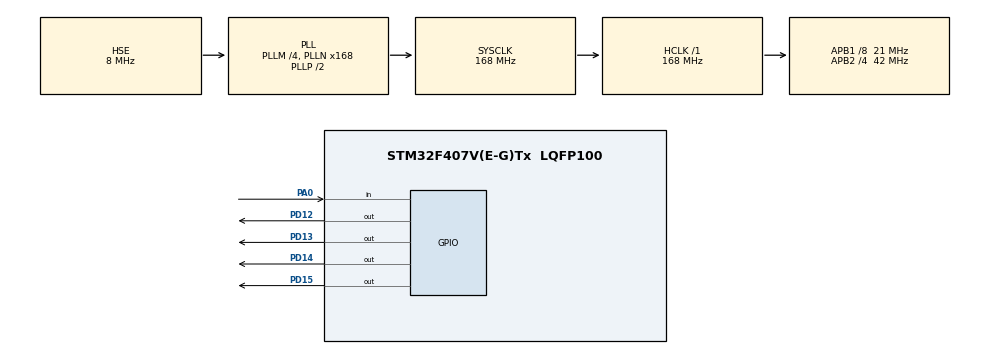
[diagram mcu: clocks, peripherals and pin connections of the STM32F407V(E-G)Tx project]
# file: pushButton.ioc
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Mcu.Family=STM32F4
Mcu.Name=STM32F407V(E-G)Tx
Mcu.Package=LQFP100
NVIC.PriorityGroup=NVIC_PRIORITYGROUP_0
PA0-WKUP.Signal=GPIO_Input
PD12.Signal=GPIO_Output
PD13.Signal=GPIO_Output
PD14.Signal=GPIO_Output
PD15.Signal=GPIO_Output
PH0-OSC_IN.Mode=HSE-External-Oscillator
PH0-OSC_IN.Signal=RCC_OSC_IN
PH1-OSC_OUT.Mode=HSE-External-Oscillator
PH1-OSC_OUT.Signal=RCC_OSC_OUT
ProjectManager.HeapSize=0x200
ProjectManager.StackSize=0x400
ProjectManager.TargetToolchain=SW4STM32
RCC.48MHZClocksFreq_Value=48000000
RCC.AHBFreq_Value=168000000
RCC.APB1CLKDivider=RCC_HCLK_DIV8
RCC.APB1Freq_Value=21000000
RCC.APB1TimFreq_Value=42000000
RCC.APB2CLKDivider=RCC_HCLK_DIV4
RCC.APB2Freq_Value=42000000
RCC.APB2TimFreq_Value=84000000
RCC.CortexFreq_Value=168000000
RCC.HCLKFreq_Value=168000000
RCC.HSE_VALUE=8000000
RCC.HSI_VALUE=16000000
RCC.LSE_VALUE=32768
RCC.PLLM=4
RCC.PLLN=168
RCC.PLLQ=7
RCC.PLLSourceVirtual=RCC_PLLSOURCE_HSE
RCC.SYSCLKFreq_VALUE=168000000
RCC.SYSCLKSource=RCC_SYSCLKSOURCE_PLLCLK
RCC.VCOOutputFreq_Value=336000000
board=STM32F4DISCOVERY

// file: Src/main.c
/**
  ******************************************************************************
  * File Name          : main.c
  * Description        : Main program body
  ******************************************************************************
  ** This notice applies to any and all portions of this file
  * that are not between comment pairs USER CODE BEGIN and
  * USER CODE END. Other portions of this file, whether
  * inserted by the user or by software development tools
  * are owned by their respective copyright owners.
  *
  * COPYRIGHT(c) 2017 STMicroelectronics
  *
  * Redistribution and use in source and binary forms, with or without modification,
  * are permitted provided that the following conditions are met:
  *   1. Redistributions of source code must retain the above copyright notice,
  *      this list of conditions and the following disclaimer.
  *   2. Redistributions in binary form must reproduce the above copyright notice,
  *      this list of conditions and the following disclaimer in the documentation
  *      and/or other materials provided with the distribution.
  *   3. Neither the name of STMicroelectronics nor the names of its contributors
  *      may be used to endorse or promote products derived from this software
  *      without specific prior written permission.
  *
  * THIS SOFTWARE IS PROVIDED BY THE COPYRIGHT HOLDERS AND CONTRIBUTORS "AS IS"
  * AND ANY EXPRESS OR IMPLIED WARRANTIES, INCLUDING, BUT NOT LIMITED TO, THE
  * IMPLIED WARRANTIES OF MERCHANTABILITY AND FITNESS FOR A PARTICULAR PURPOSE ARE
  * DISCLAIMED. IN NO EVENT SHALL THE COPYRIGHT HOLDER OR CONTRIBUTORS BE LIABLE
  * FOR ANY DIRECT, INDIRECT, INCIDENTAL, SPECIAL, EXEMPLARY, OR CONSEQUENTIAL
  * DAMAGES (INCLUDING, BUT NOT LIMITED TO, PROCUREMENT OF SUBSTITUTE GOODS OR
  * SERVICES; LOSS OF USE, DATA, OR PROFITS; OR BUSINESS INTERRUPTION) HOWEVER
  * CAUSED AND ON ANY THEORY OF LIABILITY, WHETHER IN CONTRACT, STRICT LIABILITY,
  * OR TORT (INCLUDING NEGLIGENCE OR OTHERWISE) ARISING IN ANY WAY OUT OF THE USE
  * OF THIS SOFTWARE, EVEN IF ADVISED OF THE POSSIBILITY OF SUCH DAMAGE.
  *
  ******************************************************************************
  */
#include "main.h"
#include "stm32f4xx_hal.h"
#include "gpio.h"

/* USER CODE BEGIN PV */
/* Private variables ---------------------------------------------------------*/

/* USER CODE END PV */

void SystemClock_Config(void);

/* USER CODE BEGIN PFP */
/* Private function prototypes -----------------------------------------------*/

/* USER CODE END PFP */

int main(void)
{

  /* MCU Configuration----------------------------------------------------------*/

  /* Reset of all peripherals, Initializes the Flash interface and the Systick. */
  HAL_Init();

  /* Configure the system clock */
  SystemClock_Config();

  /* Initialize all configured peripherals */
  MX_GPIO_Init();

  /* Infinite loop */
  /* USER CODE BEGIN WHILE */
  int count=0;
  while (1)
  {
	  if(HAL_GPIO_ReadPin(GPIOA, GPIO_PIN_0)==1){
	  		  HAL_GPIO_WritePin(GPIOD, GPIO_PIN_12, GPIO_PIN_SET);
	  		  HAL_GPIO_WritePin(GPIOD, GPIO_PIN_14, GPIO_PIN_SET);

	  		  HAL_Delay(500);

	  		  HAL_GPIO_WritePin(GPIOD, GPIO_PIN_12, GPIO_PIN_RESET);
	  		  HAL_GPIO_WritePin(GPIOD, GPIO_PIN_14, GPIO_PIN_RESET);
	  		  HAL_Delay(500);
	  		  count++;
	  	  }
	  else{
		  HAL_GPIO_WritePin(GPIOD, GPIO_PIN_13, GPIO_PIN_SET);
		  HAL_GPIO_WritePin(GPIOD, GPIO_PIN_15, GPIO_PIN_SET);
		  HAL_Delay(500);
		  HAL_GPIO_WritePin(GPIOD, GPIO_PIN_15, GPIO_PIN_RESET);
		  HAL_GPIO_WritePin(GPIOD, GPIO_PIN_13, GPIO_PIN_RESET);
		  HAL_Delay(500);
          count++;
	  }

  /* USER CODE END WHILE */

  }

}

/** System Clock Configuration
*/
void SystemClock_Config(void)
{

  RCC_OscInitTypeDef RCC_OscInitStruct;
  RCC_ClkInitTypeDef RCC_ClkInitStruct;

    /**Configure the main internal regulator output voltage
    */
  __HAL_RCC_PWR_CLK_ENABLE();

  __HAL_PWR_VOLTAGESCALING_CONFIG(PWR_REGULATOR_VOLTAGE_SCALE1);

    /**Initializes the CPU, AHB and APB busses clocks
    */
  RCC_OscInitStruct.OscillatorType = RCC_OSCILLATORTYPE_HSE;
  RCC_OscInitStruct.HSEState = RCC_HSE_ON;
  RCC_OscInitStruct.PLL.PLLState = RCC_PLL_ON;
  RCC_OscInitStruct.PLL.PLLSource = RCC_PLLSOURCE_HSE;
  RCC_OscInitStruct.PLL.PLLM = 4;
  RCC_OscInitStruct.PLL.PLLN = 168;
  RCC_OscInitStruct.PLL.PLLP = RCC_PLLP_DIV2;
  RCC_OscInitStruct.PLL.PLLQ = 7;
  if (HAL_RCC_OscConfig(&RCC_OscInitStruct) != HAL_OK)
  {
    _Error_Handler(__FILE__, __LINE__);
  }

    /**Initializes the CPU, AHB and APB busses clocks
    */
  RCC_ClkInitStruct.ClockType = RCC_CLOCKTYPE_HCLK|RCC_CLOCKTYPE_SYSCLK
                              |RCC_CLOCKTYPE_PCLK1|RCC_CLOCKTYPE_PCLK2;
  RCC_ClkInitStruct.SYSCLKSource = RCC_SYSCLKSOURCE_PLLCLK;
  RCC_ClkInitStruct.AHBCLKDivider = RCC_SYSCLK_DIV1;
  RCC_ClkInitStruct.APB1CLKDivider = RCC_HCLK_DIV8;
  RCC_ClkInitStruct.APB2CLKDivider = RCC_HCLK_DIV4;

  if (HAL_RCC_ClockConfig(&RCC_ClkInitStruct, FLASH_LATENCY_5) != HAL_OK)
  {
    _Error_Handler(__FILE__, __LINE__);
  }

    /**Configure the Systick interrupt time
    */
  HAL_SYSTICK_Config(HAL_RCC_GetHCLKFreq()/1000);

    /**Configure the Systick
    */
  HAL_SYSTICK_CLKSourceConfig(SYSTICK_CLKSOURCE_HCLK);

  /* SysTick_IRQn interrupt configuration */
  HAL_NVIC_SetPriority(SysTick_IRQn, 0, 0);
}

void _Error_Handler(char * file, int line)
{
  while(1)
  {
  }
}

/************************ (C) COPYRIGHT STMicroelectronics *****END OF FILE****/
